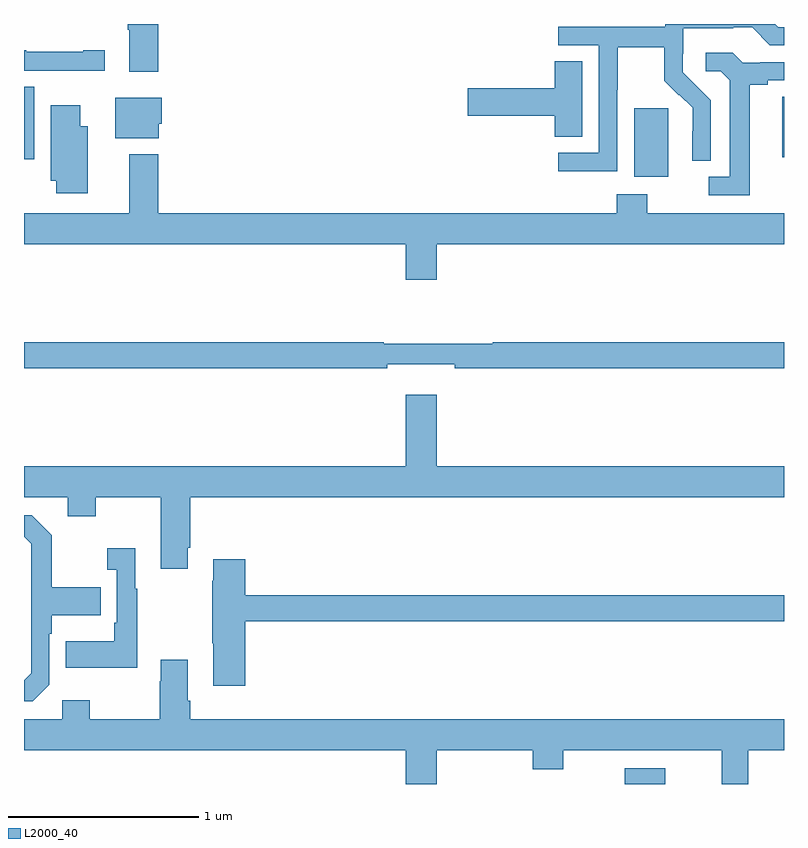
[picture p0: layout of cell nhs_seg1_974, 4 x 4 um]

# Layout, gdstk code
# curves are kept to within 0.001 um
import gdstk
lib = gdstk.Library(unit=1e-6, precision=1e-09)
def R(c, l, rs):  # rectangles x0, y0, x1, y1
    for r in rs: c.add(gdstk.rectangle(r[:2], r[2:], *l))
def P(c, l, *ps):  # polygons
    for p in ps: c.add(gdstk.Polygon(p, *l))
L2000_40 = (2000, 40)

nhs_seg1_974 = lib.new_cell('nhs_seg1_974')
R(nhs_seg1_974, L2000_40, [(166.161,574.199,166.375,574.281), (166.211,577.394,166.39,577.755), (163,577.488,163.054,577.868), (166.991,577.497,167,577.817)])
P(nhs_seg1_974, L2000_40, [(163.706,578.199),(163.546,578.199),(163.546,578.168),(163.553,578.168),(163.553,577.947),(163.706,577.947)],
  [(166.122,577.852),(166.125,577.852),(166.125,578.076),(166.369,578.076),(166.369,577.901),(166.446,577.824),(166.449,577.827),(166.52,577.757),(166.52,577.634),(166.518,577.634),(166.518,577.48),(166.614,577.48),(166.614,577.798),(166.468,577.946),(166.468,578.043),(166.47,578.043),(166.47,578.177),(166.733,578.177),(166.733,578.181),(166.833,578.181),(166.926,578.088),(167,578.088),(167,578.181),(166.971,578.181),(166.953,578.199),(166.374,578.199),(166.374,578.184),(165.813,578.184),(165.813,578.088),(166.026,578.088),(166.026,577.521),(165.813,577.521),(165.813,577.423),(166.122,577.423)],
  [(163.426,578.062),(163.313,578.062),(163.313,578.052),(163.013,578.052),(163.013,578.062),(163,578.062),(163,577.953),(163.15,577.953),(163.15,577.952),(163.426,577.952)],
  [(166.819,577.88),(166.915,577.88),(166.915,577.902),(167,577.902),(167,577.998),(166.876,577.998),(166.876,577.995),(166.782,577.995),(166.73,578.047),(166.587,578.047),(166.587,577.95),(166.668,577.95),(166.715,577.903),(166.715,577.395),(166.605,577.395),(166.605,577.299),(166.819,577.299)],
  [(165.937,578.003),(165.794,578.003),(165.794,577.862),(165.336,577.862),(165.336,577.715),(165.794,577.715),(165.794,577.606),(165.937,577.606)],
  [(163.708,577.674),(163.726,577.674),(163.726,577.81),(163.481,577.81),(163.481,577.598),(163.708,577.598)],
  [(163.336,577.66),(163.297,577.66),(163.297,577.771),(163.142,577.771),(163.142,577.373),(163.171,577.373),(163.171,577.308),(163.336,577.308)],
  [(165.172,577.04),(167,577.04),(167,577.204),(166.281,577.204),(166.281,577.303),(166.121,577.303),(166.121,577.204),(163.706,577.204),(163.706,577.513),(163.553,577.513),(163.553,577.204),(163,577.204),(163,577.04),(165.008,577.04),(165.008,576.852),(165.172,576.852)],
  [(164.912,576.407),(165.268,576.407),(165.268,576.388),(167,576.388),(167,576.524),(165.466,576.524),(165.466,576.517),(164.893,576.517),(164.893,576.524),(163,576.524),(163,576.388),(164.912,576.388)],
  [(163.861,575.443),(163.874,575.443),(163.874,575.708),(167,575.708),(167,575.872),(165.172,575.872),(165.172,576.247),(165.008,576.247),(165.008,575.872),(163,575.872),(163,575.708),(163.229,575.708),(163.229,575.609),(163.377,575.609),(163.377,575.708),(163.721,575.708),(163.721,575.331),(163.861,575.331)],
  [(163.134,574.722),(163.134,574.991),(163.147,574.991),(163.147,575.087),(163.403,575.087),(163.403,575.235),(163.147,575.235),(163.147,575.507),(163.041,575.613),(163,575.613),(163,575.501),(163.038,575.463),(163.038,574.782),(163,574.744),(163,574.635),(163.047,574.635)],
  [(163.597,575.227),(163.585,575.227),(163.585,575.44),(163.437,575.44),(163.437,575.327),(163.488,575.327),(163.488,575.047),(163.476,575.047),(163.476,574.951),(163.219,574.951),(163.219,574.811),(163.597,574.811)],
  [(164.165,575.056),(167,575.056),(167,575.192),(164.165,575.192),(164.165,575.383),(163.997,575.383),(163.997,575.27),(163.99,575.27),(163.99,574.939),(163.997,574.939),(163.997,574.716),(164.165,574.716)],
  [(165.172,574.376),(165.677,574.376),(165.677,574.277),(165.837,574.277),(165.837,574.376),(166.673,574.376),(166.673,574.199),(166.813,574.199),(166.813,574.376),(167,574.376),(167,574.54),(163.874,574.54),(163.874,574.636),(163.861,574.636),(163.861,574.852),(163.721,574.852),(163.721,574.739),(163.714,574.739),(163.714,574.54),(163.347,574.54),(163.347,574.639),(163.2,574.639),(163.2,574.54),(163,574.54),(163,574.376),(165.008,574.376),(165.008,574.199),(165.172,574.199)])

lib.write_gds('nhs_seg1_974.gds')
